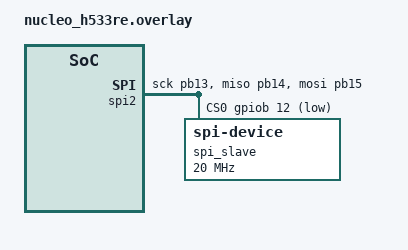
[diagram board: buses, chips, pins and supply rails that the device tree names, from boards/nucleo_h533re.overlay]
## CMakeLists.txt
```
# Copyright (c) Qualcomm Technologies, Inc. and/or its subsidiaries.
#
# SPDX-License-Identifier: BSD-3-Clause-Clear

cmake_minimum_required(VERSION 3.20.0)
find_package(Zephyr REQUIRED HINTS $ENV{ZEPHYR_BASE})
project(spi_shell)

target_sources(app PRIVATE src/main.c)
```

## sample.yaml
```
sample:
  name: SPI Shell Example
tests:
  sample.drivers.spi.spi_shell:
    build_only: true
    platform_allow:
      - native_posix
      - nucleo_h533re
    tags:
      - spi
      - serial
      - shell
      - console
    filter: dt_compat_enabled("st,stm32-spi")
    depends_on:
      - spi
      - serial
```

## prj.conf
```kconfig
CONFIG_SPI=y
CONFIG_GPIO=y

# Enable logging
CONFIG_LOG=y
CONFIG_PRINTK=y
CONFIG_CONSOLE=y
CONFIG_UART_CONSOLE=y

# Enable the Zephyr Shell subsystem
CONFIG_SHELL=y

# Enable the serial/UART backend for the shell
CONFIG_SHELL_BACKEND_SERIAL=y

CONFIG_SHELL_STACK_SIZE=2048

CONFIG_MAIN_STACK_SIZE=2048
```

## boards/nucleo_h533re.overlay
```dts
&spi2 {
    status = "okay";
    compatible = "st,stm32h7-spi", "st,stm32-spi-fifo", "st,stm32-spi";
    pinctrl-0 = <&spi2_sck_pb13 &spi2_miso_pb14 &spi2_mosi_pb15>;
    cs-gpios = <&gpiob 12 GPIO_ACTIVE_LOW>;
    pinctrl-names = "default";
    spi_slave: spi-slave@0 {
        compatible = "zephyr,spi-device";
        status = "okay";
        reg = <0>;
        spi-max-frequency = <20000000>;
        cs-gpios = <&gpiob 12 GPIO_ACTIVE_LOW>;
    };
};
```

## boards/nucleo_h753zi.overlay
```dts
/*
 * Copyright (c) Qualcomm Technologies, Inc. and/or its subsidiaries.
 *
 * SPDX-License-Identifier: BSD-3-Clause-Clear
 */

&spi1 {
    status = "okay";
    spi_slave: spi-slave@0 {
        compatible = "zephyr,spi-device";
        status = "okay";
        reg = <0>;
        spi-max-frequency = <20000000>;
        cs-gpios = <&gpiod 14 GPIO_ACTIVE_LOW>;
    };
};
```

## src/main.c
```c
/*
 * @brief STM32 SPI Shell example
 *
 * Copyright (c) 2025 Qualcomm Technologies, Inc. and/or its subsidiaries.
 *
 * SPDX-License-Identifier: BSD-3-Clause-Clear
 */
#include <zephyr/kernel.h>
#include <zephyr/device.h>
#include <zephyr/devicetree.h>
#include <zephyr/drivers/spi.h>
#include <zephyr/drivers/gpio.h>
#include <zephyr/logging/log.h>
#include <zephyr/shell/shell.h>
#include <string.h>
#include <stdlib.h>

LOG_MODULE_REGISTER(spi_master, LOG_LEVEL_INF);

/* Get nodes from device tree */
#define LED_NODE       DT_ALIAS(led0)
#define SPI_CS_DT_SPEC SPI_CS_GPIOS_DT_SPEC_GET(DT_NODELABEL(spi_slave))

static const struct gpio_dt_spec led = GPIO_DT_SPEC_GET(LED_NODE, gpios);
#if DT_NODE_EXISTS(DT_NODELABEL(spi2))
const struct device *const spi2_dev_ptr = DEVICE_DT_GET(DT_NODELABEL(spi2));
#define SPI2_NODE DT_NODELABEL(spi2)
#else
#error "SPI2 node not found in device tree."
#endif

#define MAX_BUFFER_SIZE 256

struct spi_bridge_data {
	uint8_t spi_tx_buffer[MAX_BUFFER_SIZE];
	uint8_t spi_rx_buffer[MAX_BUFFER_SIZE];
	bool led_state;
	const struct device *spi_dev;
	struct k_mutex spi_mutex;
};

static struct spi_bridge_data bridge_data;

/* Default SPI Config */
static struct spi_config spi_cfg = {.frequency = 1000000, /* 1 MHz */
				    .operation = SPI_WORD_SET(8) | SPI_TRANSFER_MSB,
				    .slave = 0, /* Slave device number */
				    .cs = {
					    /**
					     * This pin specification is needed for automatic CS
					     * control Set this to NULL for manual control
					     */
					    .gpio = SPI_CS_DT_SPEC,
					    .delay = 0 /* No delay after CS release */
				    }};

/* Helper function to parse hex string to bytes */
static int hex_string_to_bytes(const char *hex_str, uint8_t *bytes, size_t max_bytes)
{
	size_t hex_len = strlen(hex_str);
	size_t byte_count = 0;

	/* Remove "0x" prefix if present */
	if (hex_len >= 2 && hex_str[0] == '0' && (hex_str[1] == 'x' || hex_str[1] == 'X')) {
		hex_str += 2;
		hex_len -= 2;
	}

	/* Each byte needs 2 hex characters */
	if (hex_len % 2 != 0) {
		return -EINVAL;
	}

	byte_count = hex_len / 2;
	if (byte_count > max_bytes) {
		return -E2BIG;
	}

	for (size_t i = 0; i < byte_count; i++) {
		char byte_str[3] = {hex_str[i * 2], hex_str[i * 2 + 1], '\0'};
		char *endptr;
		unsigned long val = strtoul(byte_str, &endptr, 16);

		if (*endptr != '\0' || val > 0xFF) {
			return -EINVAL;
		}

		bytes[i] = (uint8_t)val;
	}

	return byte_count;
}

/* SPI Tx-Rx Function */
static int spi_tx_rx(uint8_t *tx_data, uint8_t *rx_data, size_t len)
{
	int ret;

	k_mutex_lock(&bridge_data.spi_mutex, K_FOREVER);

	memcpy(bridge_data.spi_tx_buffer, tx_data, len);
	memset(bridge_data.spi_rx_buffer, 0, len);

	struct spi_buf tx_buf = {.buf = bridge_data.spi_tx_buffer, .len = len};

	struct spi_buf rx_buf = {.buf = bridge_data.spi_rx_buffer, .len = len};

	struct spi_buf_set tx_buf_set = {.buffers = &tx_buf, .count = 1};

	struct spi_buf_set rx_buf_set = {.buffers = &rx_buf, .count = 1};

	/* Send entire buffer at once */
	struct spi_config temp_cfg = spi_cfg;

	ret = spi_transceive(bridge_data.spi_dev, &temp_cfg, &tx_buf_set, &rx_buf_set);
	if (ret < 0) {
		k_mutex_unlock(&bridge_data.spi_mutex);
		return ret;
	}

	/* Copy received data back */
	memcpy(rx_data, bridge_data.spi_rx_buffer, len);

	k_mutex_unlock(&bridge_data.spi_mutex);
	return 0;
}

/* Shell command: Send hex bytes via SPI */
static int cmd_spi_send_hex(const struct shell *sh, size_t argc, char **argv)
{
	if (argc != 2) {
		shell_error(sh, "Usage: spi send_hex <hex_string>");
		shell_error(sh, "Example: spi send_hex AABBCCDD");
		shell_error(sh, "Example: spi send_hex 0x1122334455");
		return -EINVAL;
	}

	uint8_t tx_data[MAX_BUFFER_SIZE];
	uint8_t rx_data[MAX_BUFFER_SIZE];

	int byte_count = hex_string_to_bytes(argv[1], tx_data, MAX_BUFFER_SIZE);
	if (byte_count < 0) {
		shell_error(sh, "Invalid hex string format");
		return byte_count;
	}

	int ret = spi_tx_rx(tx_data, rx_data, byte_count);
	if (ret < 0) {
		shell_error(sh, "SPI transaction failed: %d", ret);
		return ret;
	}

	shell_print(sh, "TX[%d]: ", byte_count);
	for (int i = 0; i < byte_count; i++) {
		shell_fprintf(sh, SHELL_NORMAL, "%02X ", tx_data[i]);
	}
	shell_print(sh, "");

	shell_print(sh, "RX[%d]: ", byte_count);
	for (int i = 0; i < byte_count; i++) {
		shell_fprintf(sh, SHELL_NORMAL, "%02X ", rx_data[i]);
	}
	shell_print(sh, "");

	shell_print(sh, "RX ASCII: ");
	for (int i = 0; i < byte_count; i++) {
		if (rx_data[i] >= 32 && rx_data[i] <= 126) {
			shell_fprintf(sh, SHELL_NORMAL, "%c", rx_data[i]);
		} else {
			shell_fprintf(sh, SHELL_NORMAL, ".");
		}
	}
	shell_print(sh, "");

	return 0;
}

/* Shell command: Configure SPI frequency */
static int cmd_spi_config_freq(const struct shell *sh, size_t argc, char **argv)
{
	if (argc != 2) {
		shell_error(sh, "Usage: spi config_freq <frequency_hz>");
		shell_error(sh, "Example: spi config_freq 20000000");
		return -EINVAL;
	}

	unsigned long freq = strtoul(argv[1], NULL, 10);
	if (freq == 0 || freq > 20000000) { /* Max 20MHz */
		shell_error(sh, "Invalid frequency (1 - 20000000 Hz)/20MHz");
		return -EINVAL;
	}

	spi_cfg.frequency = freq;
	shell_print(sh, "SPI frequency set to %lu Hz", freq);
	return 0;
}

/* Shell command: Get SPI status */
static int cmd_spi_status(const struct shell *sh, size_t argc, char **argv)
{
	shell_print(sh, "=== SPI Bridge Status ===");
	shell_print(sh, "SPI Device: %s", bridge_data.spi_dev->name);
	shell_print(sh, "SPI Frequency: %u Hz", spi_cfg.frequency);
	shell_print(sh, "LED State: %s", bridge_data.led_state ? "ON" : "OFF");
	shell_print(sh, "Buffer Size: %d bytes", MAX_BUFFER_SIZE);
	return 0;
}

/* Create shell subcommands */
SHELL_STATIC_SUBCMD_SET_CREATE(
	sub_spi_cmds, SHELL_CMD(send_hex, NULL, "Send hex bytes via SPI", cmd_spi_send_hex),
	SHELL_CMD(config_freq, NULL, "Configure SPI frequency", cmd_spi_config_freq),
	SHELL_CMD(status, NULL, "Show SPI bridge status", cmd_spi_status),
	SHELL_SUBCMD_SET_END /* Array terminator */
);

SHELL_CMD_REGISTER(spi, &sub_spi_cmds, "SPI bridge commands", NULL);

int main(void)
{
	int ret;
	LOG_INF("Starting SPI2 Master example for STM32 Nucleo Boards");

	/* Initialize bridge data structure */
	memset(&bridge_data, 0, sizeof(bridge_data));
	k_mutex_init(&bridge_data.spi_mutex);

	/* Initialize LED */
	ret = gpio_is_ready_dt(&led);
	if (ret < 0) {
		LOG_ERR("LED GPIO device not ready");
		return ret;
	}

	ret = gpio_pin_configure_dt(&led, GPIO_OUTPUT_INACTIVE);
	if (ret < 0) {
		LOG_ERR("Failed to configure LED GPIO: %d", ret);
		return ret;
	}

	bridge_data.spi_dev = spi2_dev_ptr;
	ret = device_is_ready(bridge_data.spi_dev);
	if (ret < 0) {
		LOG_ERR("SPI2 device not ready");
		return ret;
	}

	LOG_INF("SPI2 device initialized");

	LOG_INF("SPI Shell ready - type 'spi help' for commands");

	/* Main thread can do other work or just sleep */
	while (1) {
        /* Blink LED on Nucleo Board every 200 millisecond */
		k_msleep(200);
		bridge_data.led_state = !bridge_data.led_state;
		gpio_pin_set_dt(&led, bridge_data.led_state);
	}
}
```
